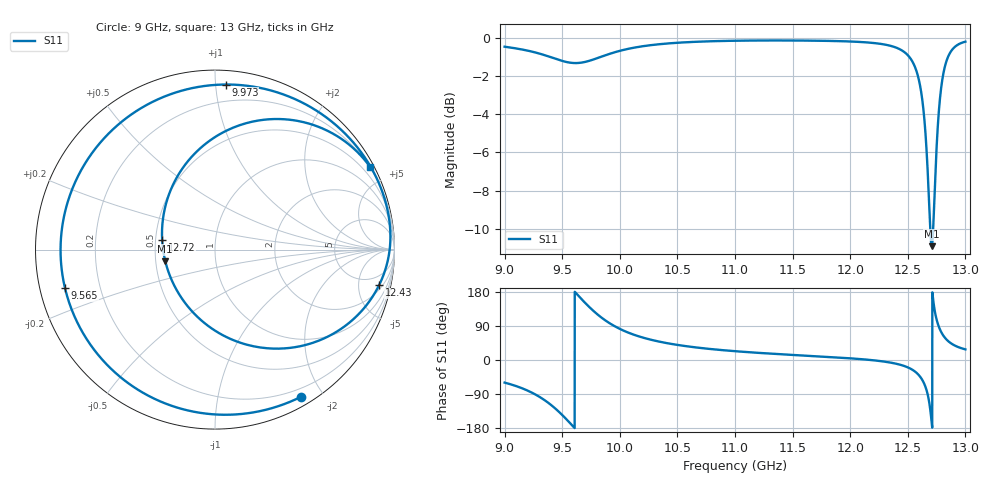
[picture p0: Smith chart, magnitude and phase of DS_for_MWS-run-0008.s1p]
! TOUCHSTONE file generated by CST DESIGN STUDIO
! Date and time: Tue Feb  4 17:42:43 2025
! Project name: C:\Work\MatlabApps\UnitCellOptimizationMatlab\CST\unitcell.cst
! Tree item: Tasks\Sweep1\SPara1\S-Parameters
! Header version: 2024
! Port assignment regex: !\s*Touchstone port\s*([0-9]+)\s*=\s*(CST MWS port|CST DES external port|CST DES block port)\s*(.+)\s* \(\"(.*)\"\)(\s*mode\s*([0-9]+))?.*
! Touchstone port assignment:
! Touchstone port 1 = CST DES external port 1 ("")
# GHz S MA R 50
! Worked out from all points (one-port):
!   4001 points, 9 GHz to 13 GHz, reference 50 ohm
!   lowest |S11| = -10.9 dB at 12.71 GHz (marker M1), VSWR 1.79, Z = 28.1 - j3.98 ohm
!   |S11| at or under -10 dB: 12.69471 GHz to 12.72027 GHz (25.57 MHz wide, 0.201 % of centre)
!   S11 on the Smith chart (normalised r, x): 9 GHz: 0.10, -1.74; 9.565 GHz: 0.07, -0.13; 9.973 GHz: 0.09, +1.06; 12.43 GHz: 2.67, -8.48; 12.72 GHz: 0.54, +0.06; 13 GHz: 0.18, +4.00
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9  0.9499 -59.6
9.16  0.933 -75.6
9.311  0.9097 -98.8
9.409  0.8899 -120.1
9.5  0.8717 -145.0
9.565  0.8628 -165.5
9.661  0.8623 162.8
9.774  0.8799 128.7
9.865  0.8999 106.5
9.973  0.9217 86.3
10  0.9265 82.1
10.217  0.9544 57.7
10.5  0.9728 39.8
11  0.9848 23.3
11.5  0.9863 13.4
12  0.9803 4.4
12.431  0.9354 -12.3
12.5  0.9025 -19.5
12.582  0.8077 -35.6
12.643  0.6163 -62.9
12.676  0.4257 -95.4
12.708  0.2844 -166.8
12.716  0.2988 170.1
12.756  0.5581 100.2
12.795  0.7617 71.0
12.833  0.8659 55.0
12.876  0.9247 43.8
13  0.9793 28.0
